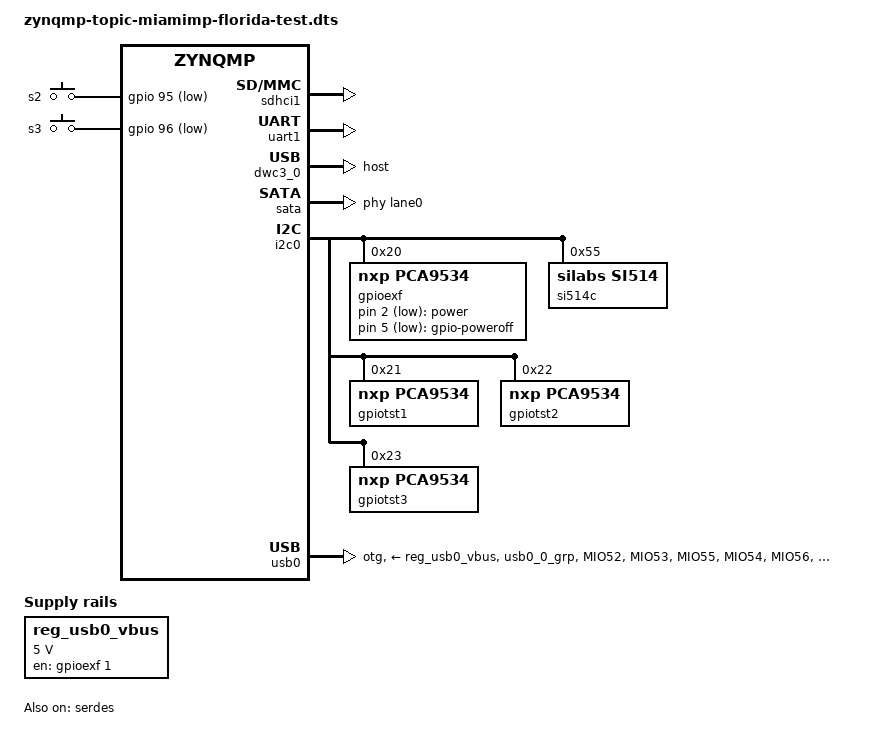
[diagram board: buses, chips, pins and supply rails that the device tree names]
/*
 * dts file for Topic Miami MPSoC
 *
 * (C) Copyright 2017, Topic Embedded Products BV
 * Mike Looijmans <mike.looijmans@topic.nl>
 *
 * This program is free software; you can redistribute it and/or
 * modify it under the terms of the GNU General Public License as
 * published by the Free Software Foundation; either version 2 of
 * the License, or (at your option) any later version.
 */

#include "zynqmp-topic-miamimp.dts"

/* Common components for MIO parts of Florida boards. These are
 * accessible even without programming any logic. */
/ {
	/* Regulator for the 5V USB VBUS power line. This is connected
	 * to the second output of the GPIO expander. */
	reg_usb0_vbus: regulator_usb {
		compatible = "regulator-fixed";
		regulator-name = "usb0-vbus";
		regulator-min-microvolt = <5000000>;
		regulator-max-microvolt = <5000000>;
		gpio = <&gpioexf 1 0>;
		enable-active-high;
	};

	gpio_keys: gpio-keys {
		compatible = "gpio-keys";
		#address-cells = <1>;
		#size-cells = <0>;
		power {
			label = "power";
			gpios = <&gpioexf 2 1>; /* Input 2, active low */
			linux,code = <116>; /* KEY_POWER */
			gpio-key,wakeup;
		};
		/* On-board push buttons in reference design */
		s2 {
			label = "s2";
			gpios = <&gpio 95 1>; /* EMIO 17, active low */
			linux,code = <60>; /* KEY_F2 */
			gpio-key,wakeup;
		};
		s3 {
			label = "s3";
			gpios = <&gpio 96 1>; /* EMIO 18, active low */
			linux,code = <61>; /* KEY_F3 */
			gpio-key,wakeup;
		};
	};

	gpio-poweroff {
		compatible = "gpio-poweroff";
		gpios = <&gpioexf 5 1>; /* Output 5, active low */
		input;
	};
};

/* SD card with level shifter */
&sdhci1 {
	status = "okay";
	no-1-8-v;	/* for 1.0 silicon */
	xlnx,mio_bank = <1>;
	disable-wp; /* We don't have a write-protect detection */
};

&serdes {
	status = "okay";
};

&uart1 {
	status = "okay";
};

&dwc3_0 {
	status = "okay";
	dr_mode = "host";
	snps,usb3_lpm_capable;
	/*
	 * phy-names = "usb3-phy";
	 * phys = <&lane2 PHY_TYPE_USB3 0 2 26000000>;
	 */
	maximum-speed = "high-speed"; /* super-speed not available on carrier */
};

&sata {
	status = "okay";
	/* SATA OOB timing settings */
	ceva,p0-cominit-params = /bits/ 8 <0x18 0x40 0x18 0x28>;
	ceva,p0-comwake-params = /bits/ 8 <0x06 0x14 0x08 0x0E>;
	ceva,p0-burst-params = /bits/ 8 <0x13 0x08 0x4A 0x06>;
	ceva,p0-retry-params = /bits/ 16 <0x96A4 0x3FFC>;
	ceva,p1-cominit-params = /bits/ 8 <0x18 0x40 0x18 0x28>;
	ceva,p1-comwake-params = /bits/ 8 <0x06 0x14 0x08 0x0E>;
	ceva,p1-burst-params = /bits/ 8 <0x13 0x08 0x4A 0x06>;
	ceva,p1-retry-params = /bits/ 16 <0x96A4 0x3FFC>;
	/* For now, only try one instance */
	phy-names = "sata-phy", "sata-phy";
	/* Use refclock 0 at 150MHz for both instances */
	phys = <&lane0 PHY_TYPE_SATA 0 0 150000000>,
	       <&lane1 PHY_TYPE_SATA 1 0 150000000>;
	/* Using SI514 on miami through logic as REFCLK0. Must be programmed to 150MHz. */
	assigned-clocks = <&si514s>;
	assigned-clock-rates = <150000000>;
	/* Apparently doesn't work this way? */
	clocks = <&si514s>;
};

/* I2C bus layout */
&i2c0 {
	/* GPIO expander 3v3 */
	gpioexf: pca953x@20 {
		compatible = "nxp,pca9534";
		reg = <0x20>;
		/* 0=USB_OTG_OC_N 1=USB_OTG_EN_N 2=n.c. ...*/
		gpio-controller;
		#gpio-cells = <2>;
		interrupt-controller;
		interrupt-parent = <&gpio>;
	};

	/* Programmable clock, to clock-capable pins on FPGA */
	si514c: si514@carrier {
		reg = <0x55>;
		#clock-cells = <0>;
		compatible = "silabs,si514";
		clock-output-names = "si514carrier";
	};

	/* GPIO expanders 1v8 */
	gpiotst1: pca953x@21 {
		compatible = "nxp,pca9534";
		reg = <0x21>;
		gpio-controller;
		#gpio-cells = <2>;
	};
	gpiotst2: pca953x@22 {
		compatible = "nxp,pca9534";
		reg = <0x22>;
		gpio-controller;
		#gpio-cells = <2>;
	};
	gpiotst3: pca953x@23 {
		compatible = "nxp,pca9534";
		reg = <0x23>;
		gpio-controller;
		#gpio-cells = <2>;
	};
};

/* USB connected through MIO and GPIO expander */
&usb0 {
	status = "okay";
	vbus-supply = <&reg_usb0_vbus>;
	dr_mode = "otg";
	pinctrl-names = "default";
	pinctrl-0 = <&pinctrl_usb0_default>;
	/* USB reset connected to output 0 of expander */
	xlnx,phy-reset-gpio = <&gpioex 0 0>;
	xlnx,phy-reset-gpio-tristate;
};

&pinctrl0 {
	status = "okay";

	pinctrl_sdhci1_default: sdhci1-default {
		mux {
			groups = "sdio1_4bit_0_1_grp";
			function = "sdio1";
		};

		conf {
			groups = "sdio1_4bit_0_1_grp";
			slew-rate = <SLEW_RATE_SLOW>;
			io-standard = <IO_STANDARD_LVCMOS18>;
			bias-disable;
		};

		mux-cd {
			groups = "sdio1_0_cd_grp";
			function = "sdio1_cd";
		};

		conf-cd {
			groups = "sdio1_0_cd_grp";
			bias-high-impedance;
			bias-pull-up;
			slew-rate = <SLEW_RATE_SLOW>;
			io-standard = <IO_STANDARD_LVCMOS18>;
		};
	};

	pinctrl_usb0_default: usb0-default {
		mux {
			groups = "usb0_0_grp";
			function = "usb0";
		};

		conf {
			groups = "usb0_0_grp";
			slew-rate = <SLEW_RATE_SLOW>;
			io-standard = <IO_STANDARD_LVCMOS18>;
		};

		conf-rx {
			pins = "MIO52", "MIO53", "MIO55";
			bias-high-impedance;
		};

		conf-tx {
			pins = "MIO54", "MIO56", "MIO57", "MIO58", "MIO59",
			       "MIO60", "MIO61", "MIO62", "MIO63";
			bias-disable;
		};
	};
};
